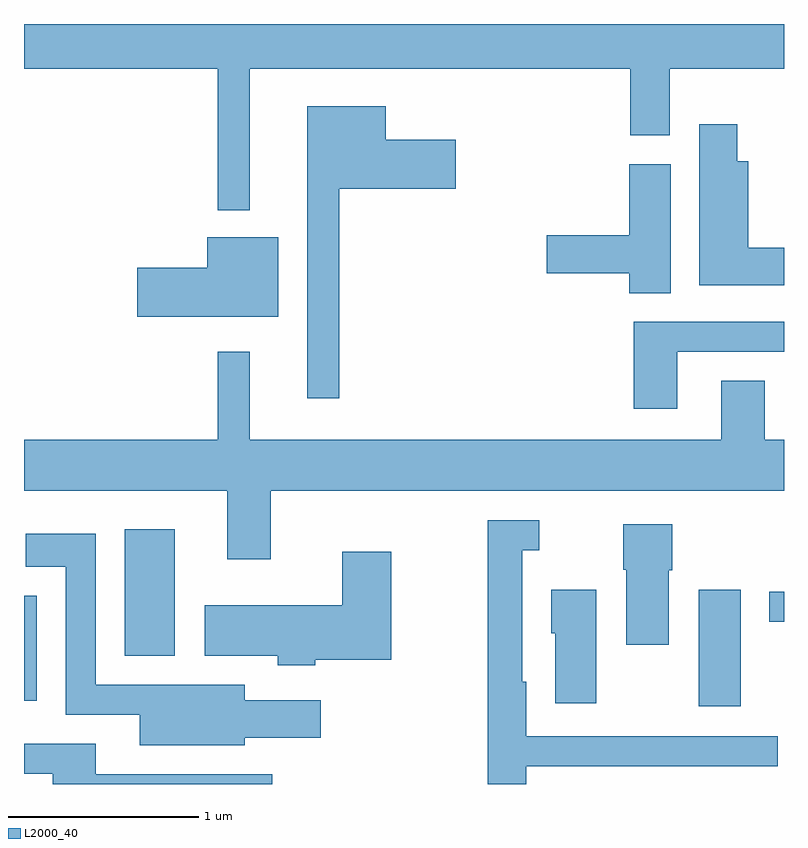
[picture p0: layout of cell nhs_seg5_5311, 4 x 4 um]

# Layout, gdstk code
import gdstk
lib = gdstk.Library(unit=1e-6, precision=1e-09)
def R(c, l, rs):  # rectangles x0, y0, x1, y1
    for r in rs: c.add(gdstk.rectangle(r[:2], r[2:], *l))
def P(c, l, *ps):  # polygons
    for p in ps: c.add(gdstk.Polygon(p, *l))
L2000_40 = (2000, 40)

nhs_seg5_5311 = lib.new_cell('nhs_seg5_5311')
R(nhs_seg5_5311, L2000_40, [(345.161,1524.481,345.384,1525.094), (341.611,1524.511,341.679,1525.064), (342.141,1524.746,342.404,1525.414), (345.533,1524.926,345.611,1525.084)])
P(nhs_seg5_5311, L2000_40, [(342.799,1527.836),(344.801,1527.836),(344.801,1527.486),(345.009,1527.486),(345.009,1527.836),(345.611,1527.836),(345.611,1528.072),(341.611,1528.072),(341.611,1527.836),(342.631,1527.836),(342.631,1527.093),(342.799,1527.093)],
  [(343.269,1527.206),(343.884,1527.206),(343.884,1527.464),(343.514,1527.464),(343.514,1527.639),(343.101,1527.639),(343.101,1526.103),(343.269,1526.103)],
  [(345.611,1526.894),(345.424,1526.894),(345.424,1527.349),(345.364,1527.349),(345.364,1527.544),(345.166,1527.544),(345.166,1526.696),(345.611,1526.696)],
  [(345.014,1527.334),(344.796,1527.334),(344.796,1526.959),(344.361,1526.959),(344.361,1526.761),(344.796,1526.761),(344.796,1526.656),(345.014,1526.656)],
  [(342.949,1526.949),(342.576,1526.949),(342.576,1526.789),(342.206,1526.789),(342.206,1526.531),(342.949,1526.531)],
  [(345.049,1526.346),(345.611,1526.346),(345.611,1526.504),(344.821,1526.504),(344.821,1526.046),(345.049,1526.046)],
  [(342.909,1525.616),(345.611,1525.616),(345.611,1525.884),(345.509,1525.884),(345.509,1526.194),(345.281,1526.194),(345.281,1525.884),(342.799,1525.884),(342.799,1526.348),(342.631,1526.348),(342.631,1525.884),(341.611,1525.884),(341.611,1525.616),(342.681,1525.616),(342.681,1525.256),(342.909,1525.256)],
  [(344.254,1524.166),(345.578,1524.166),(345.578,1524.324),(344.254,1524.324),(344.254,1524.609),(344.234,1524.609),(344.234,1525.301),(344.323,1525.301),(344.323,1525.459),(344.051,1525.459),(344.051,1524.072),(344.254,1524.072)],
  [(345.004,1525.196),(345.024,1525.196),(345.024,1525.439),(344.766,1525.439),(344.766,1525.2),(344.781,1525.2),(344.781,1524.806),(345.004,1524.806)],
  [(342.774,1524.316),(343.174,1524.316),(343.174,1524.514),(342.774,1524.514),(342.774,1524.594),(341.989,1524.594),(341.989,1525.389),(341.621,1525.389),(341.621,1525.216),(341.831,1525.216),(341.831,1524.436),(342.221,1524.436),(342.221,1524.276),(342.774,1524.276)],
  [(343.144,1524.726),(343.544,1524.726),(343.544,1525.294),(343.286,1525.294),(343.286,1525.014),(342.561,1525.014),(342.561,1524.746),(342.946,1524.746),(342.946,1524.696),(343.144,1524.696)],
  [(344.624,1525.094),(344.386,1525.094),(344.386,1524.866),(344.406,1524.866),(344.406,1524.496),(344.624,1524.496)],
  [(342.918,1524.124),(341.989,1524.124),(341.989,1524.284),(341.611,1524.284),(341.611,1524.126),(341.761,1524.126),(341.761,1524.072),(342.918,1524.072)])

lib.write_gds('nhs_seg5_5311.gds')
